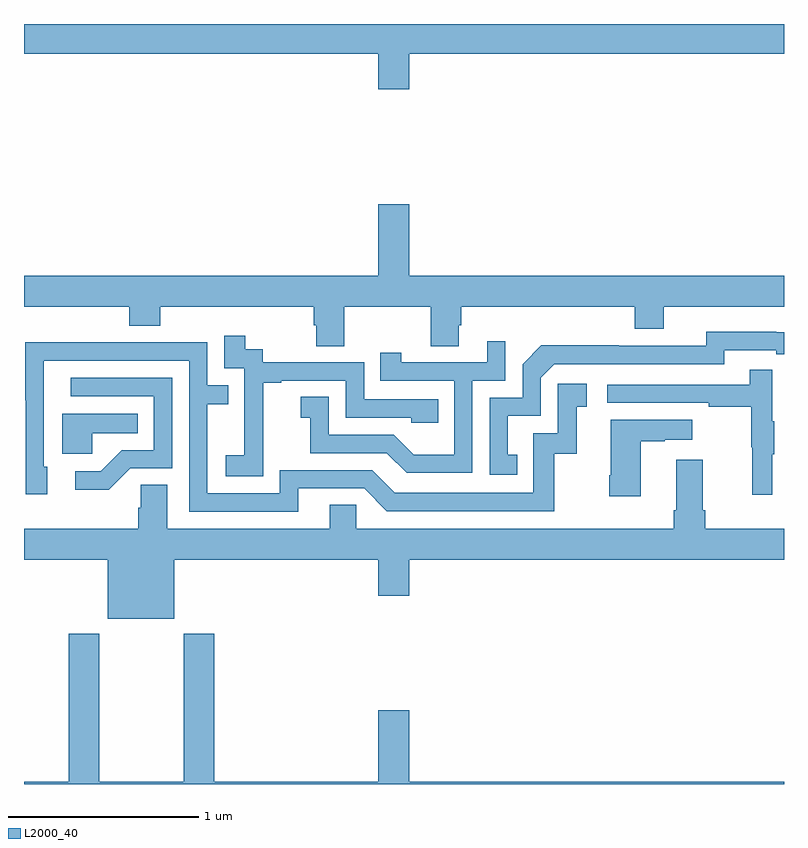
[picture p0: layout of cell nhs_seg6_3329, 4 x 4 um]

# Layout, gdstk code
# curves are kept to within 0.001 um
import gdstk
lib = gdstk.Library(unit=1e-6, precision=1e-09)
def P(c, l, *ps):  # polygons
    for p in ps: c.add(gdstk.Polygon(p, *l))
L2000_40 = (2000, 40)

nhs_seg6_3329 = lib.new_cell('nhs_seg6_3329')
P(nhs_seg6_3329, L2000_40, [(309.028,939.344),(311,939.344),(311,939.5),(307,939.5),(307,939.344),(308.864,939.344),(308.864,939.156),(309.028,939.156)],
  [(308.685,938.012),(309.142,938.012),(309.142,937.804),(309.289,937.804),(309.289,937.914),(309.302,937.914),(309.302,938.012),(310.214,938.012),(310.214,937.895),(310.366,937.895),(310.366,938.012),(311,938.012),(311,938.176),(309.028,938.176),(309.028,938.551),(308.864,938.551),(308.864,938.176),(307,938.176),(307,938.012),(307.553,938.012),(307.553,937.913),(307.718,937.913),(307.718,938.012),(308.525,938.012),(308.525,937.914),(308.537,937.914),(308.537,937.804),(308.685,937.804)],
  [(309.596,937.233),(309.547,937.233),(309.547,937.437),(309.72,937.437),(309.72,937.638),(309.792,937.71),(310.686,937.71),(310.686,937.782),(310.958,937.782),(310.958,937.762),(311,937.762),(311,937.878),(310.59,937.879),(310.59,937.806),(310.13,937.806),(310.13,937.808),(309.722,937.808),(309.624,937.71),(309.624,937.533),(309.45,937.533),(309.45,937.128),(309.596,937.128)],
  [(308.259,937.327),(308.258,937.327),(308.258,937.611),(308.353,937.611),(308.353,937.623),(308.694,937.623),(308.694,937.428),(309.039,937.428),(309.039,937.401),(309.179,937.401),(309.179,937.524),(308.79,937.524),(308.79,937.719),(308.256,937.719),(308.256,937.788),(308.164,937.788),(308.164,937.858),(308.055,937.858),(308.055,937.689),(308.16,937.689),(308.16,937.46),(308.159,937.46),(308.159,937.231),(308.061,937.231),(308.061,937.121),(308.259,937.121)],
  [(309.36,937.623),(309.534,937.623),(309.534,937.831),(309.437,937.831),(309.437,937.719),(308.986,937.719),(308.986,937.771),(308.875,937.771),(308.875,937.623),(309.264,937.623),(309.264,937.234),(309.05,937.234),(308.946,937.338),(308.604,937.338),(308.604,937.537),(308.457,937.537),(308.457,937.427),(308.506,937.427),(308.506,937.242),(308.909,937.242),(309.014,937.137),(309.36,937.137)],
  [(308.443,937.056),(308.79,937.056),(308.91,936.936),(309.79,936.936),(309.79,937.239),(309.908,937.239),(309.908,937.485),(309.961,937.485),(309.961,937.606),(309.81,937.606),(309.81,937.347),(309.681,937.347),(309.681,937.032),(308.952,937.032),(308.832,937.152),(308.346,937.152),(308.346,937.029),(307.965,937.029),(307.965,937.498),(308.075,937.498),(308.075,937.599),(307.965,937.599),(307.965,937.824),(307.469,937.824),(307.469,937.826),(307.006,937.826),(307.006,937.519),(307.008,937.519),(307.008,937.026),(307.123,937.026),(307.123,937.17),(307.104,937.17),(307.105,937.728),(307.869,937.728),(307.869,936.933),(308.443,936.933)],
  [(310.937,937.235),(310.948,937.235),(310.948,937.409),(310.937,937.409),(310.937,937.681),(310.819,937.681),(310.819,937.602),(310.071,937.602),(310.071,937.506),(310.603,937.506),(310.603,937.486),(310.827,937.486),(310.827,937.272),(310.834,937.272),(310.834,937.023),(310.937,937.023)],
  [(307.56,937.161),(307.779,937.161),(307.779,937.638),(307.245,937.638),(307.245,937.542),(307.683,937.542),(307.683,937.257),(307.514,937.257),(307.403,937.146),(307.269,937.146),(307.269,937.049),(307.447,937.049)],
  [(307.359,937.346),(307.598,937.346),(307.598,937.45),(307.202,937.45),(307.202,937.238),(307.359,937.238)],
  [(310.246,937.303),(310.373,937.303),(310.373,937.313),(310.516,937.313),(310.516,937.417),(310.088,937.417),(310.088,937.126),(310.081,937.126),(310.081,937.014),(310.246,937.014)],
  [(307.792,936.68),(308.864,936.68),(308.864,936.492),(309.028,936.492),(309.028,936.68),(311,936.68),(311,936.844),(310.586,936.844),(310.586,936.94),(310.573,936.94),(310.573,937.207),(310.433,937.207),(310.433,936.94),(310.421,936.94),(310.421,936.844),(308.748,936.844),(308.748,936.971),(308.609,936.971),(308.609,936.844),(307.753,936.844),(307.753,937.076),(307.614,937.076),(307.614,936.953),(307.601,936.953),(307.601,936.844),(307,936.844),(307,936.68),(307.442,936.68),(307.442,936.371),(307.792,936.371)],
  [(311,935.512),(309.028,935.512),(309.028,935.887),(308.864,935.887),(308.864,935.512),(308,935.512),(308,936.292),(307.84,936.292),(307.84,935.512),(307.395,935.512),(307.395,936.292),(307.235,936.292),(307.235,935.512),(307,935.512),(307,935.5),(311,935.5)])

lib.write_gds('nhs_seg6_3329.gds')
